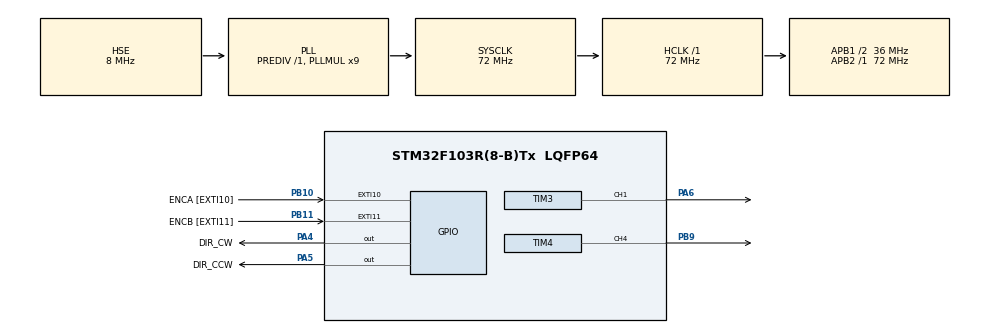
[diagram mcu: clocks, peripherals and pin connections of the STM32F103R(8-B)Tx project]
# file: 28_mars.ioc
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Mcu.Family=STM32F1
Mcu.Name=STM32F103R(8-B)Tx
Mcu.Package=LQFP64
NVIC.PriorityGroup=NVIC_PRIORITYGROUP_4
PA13.Mode=Serial_Wire
PA13.Signal=SYS_JTMS-SWDIO
PA14.Mode=Serial_Wire
PA14.Signal=SYS_JTCK-SWCLK
PA4.GPIO_Label=DIR_CW
PA4.Signal=GPIO_Output
PA5.GPIO_Label=DIR_CCW
PA5.Signal=GPIO_Output
PA6.Signal=S_TIM3_CH1
PB10.GPIO_Label=ENCA [EXTI10]
PB10.GPIO_ModeDefaultEXTI=GPIO_MODE_IT_RISING_FALLING
PB10.Signal=GPXTI10
PB11.GPIO_Label=ENCB [EXTI11]
PB11.GPIO_ModeDefaultEXTI=GPIO_MODE_IT_RISING_FALLING
PB11.Signal=GPXTI11
PB9.Signal=S_TIM4_CH4
PD0-OSC_IN.Mode=HSE-External-Oscillator
PD0-OSC_IN.Signal=RCC_OSC_IN
PD1-OSC_OUT.Mode=HSE-External-Oscillator
PD1-OSC_OUT.Signal=RCC_OSC_OUT
ProjectManager.HeapSize=0x200
ProjectManager.StackSize=0x400
ProjectManager.TargetToolchain=STM32CubeIDE
RCC.ADCPresc=RCC_ADCPCLK2_DIV6
RCC.AHBFreq_Value=72000000
RCC.APB1CLKDivider=RCC_HCLK_DIV2
RCC.APB1Freq_Value=36000000
RCC.APB1TimFreq_Value=72000000
RCC.APB2Freq_Value=72000000
RCC.APB2TimFreq_Value=72000000
RCC.HCLKFreq_Value=72000000
RCC.PLLMUL=RCC_PLL_MUL9
RCC.PLLSourceVirtual=RCC_PLLSOURCE_HSE
RCC.RTCClockSelection=RCC_RTCCLKSOURCE_LSE
RCC.SYSCLKFreq_VALUE=72000000
RCC.SYSCLKSource=RCC_SYSCLKSOURCE_PLLCLK
RCC.USBFreq_Value=72000000
SH.S_TIM3_CH1.0=TIM3_CH1,PWM Generation1 CH1
SH.S_TIM4_CH4.0=TIM4_CH4,PWM Generation4 CH4
TIM3.AutoReloadPreload=TIM_AUTORELOAD_PRELOAD_ENABLE
TIM3.Channel-PWM\ Generation1\ CH1=TIM_CHANNEL_1
TIM3.Period=1799
TIM3.Prescaler=7
TIM3.Pulse-PWM\ Generation1\ CH1=900
TIM4.Channel-PWM\ Generation4\ CH4=TIM_CHANNEL_4
TIM4.Period=1600-1
TIM4.Prescaler=8
TIM4.TIM_MasterOutputTrigger=TIM_TRGO_RESET
VP_TIM3_VS_ClockSourceINT.Mode=Internal
VP_TIM4_VS_ClockSourceINT.Mode=Internal
board=NUCLEO-F103RB

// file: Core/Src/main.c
/* USER CODE BEGIN Header */
/**
  ******************************************************************************
  * @file           : main.c
  * @brief          : Main program body
  ******************************************************************************
  * @attention
  *
  * Copyright (c) 2025 STMicroelectronics.
  * All rights reserved.
  *
  * This software is licensed under terms that can be found in the LICENSE file
  * in the root directory of this software component.
  * If no LICENSE file comes with this software, it is provided AS-IS.
  *
  ******************************************************************************
  */
/* USER CODE END Header */
#include "main.h"
#include "tim.h"
#include "lcd.h"
#include "gpio.h"
#include <string.h>
#include <stdio.h>

/* USER CODE BEGIN PD */
#define ENCODER_PPR			(334)
#define PID_SAMPLING_RATE	(100)
/* USER CODE END PD */

/* USER CODE BEGIN PV */
/*
 * Eight-bit encoder state register
 * ----------------------------------------------
 * |	B7	B6	B5	B4	|	B3	B2	|	B1	B0	|
 * ----------------------------------------------
 * |	RESERVED		| NextState	| CurState	|
 * |					|-----------|-----------|
 * |					|ENCB* ENCA*|ENCB	ENCA|
 * |---------------------------------------------
 */
volatile uint8_t EncState = 0; // Estado del encoder
volatile int32_t EncPulseCounter = 0;
volatile int32_t lEncCount = 0; // Q[n]
volatile int32_t lEncPrevCount = 0; // Q[n-1]

//  SetPoint
#define SPEED 16000
#define MOTOR_VOLTAGE 9 // 9Volts
#define MOTOR_MAX_VOLTAGE 24
#define SET_POINT ((SPEED / MOTOR_MAX_VOLTAGE) / MOTOR_VOLTAGE)

#define PID_MAX_OUTPUT 1000.0F // Max PWM value
#define PID_MIN_OUTPUT 0.0F // Min PWM value

// Define PID gains
volatile float Kp = 0.2F;
volatile float Kd = 0.1F;
volatile float Ki = 0.0F;

// Define PID variables
volatile float e_n_1 = 0.0F;     // Previous error
volatile float integral = 0.0F;  // Integral term
volatile float Ts = 1.0F / PID_SAMPLING_RATE; // Sampling time

// typedef enum {
// 	IDLE,
// 	BUTTON_PRESSED
// } ButtonState_t;

// uint8_t state = IDLE;

// Define PID variables
/* USER CODE END PV */

void SystemClock_Config(void);

/* USER CODE BEGIN 0 */

volatile uint32_t pwm_control = 0; // PWM control signal

#define VALUE_ACTUAL 0
#define VALUE_LAST 1
#define DELTA_TIME 0.01

int32_t get_speed_motor(int32_t q_n, int32_t q_n_1)
{
	return (q_n - q_n_1) / (DELTA_TIME * ENCODER_PPR);
}

uint8_t lcd_buffer[32] = {0};

void write_the_stuff(float angle_value)
{
  uint8_t new_buffer[32] = {0};

  angle_value = 0.23;
  uint8_t len = sprintf((char *)new_buffer, "EncPos: %.2f", angle_value); // ? angle value / position in grade
  new_buffer[len + 1] = 0xDF; // Write degree symbol on LCD

  for (int i = 0; i < 16; i++) {
    if (new_buffer[i] != lcd_buffer[i]) {
      LCD_Goto_XY(i, 0);
      LCD_Write(new_buffer[i] ? new_buffer[i] : ' ', 0);
      lcd_buffer[i] = new_buffer[i];
    }
  }
}

float PID_algorithm(float e_n)
{
	// Apply PID algorithm with x[n] = current angular speed
	// u[n] = Kp*e[n] + Ki*(ErrorSum[n-1] + e[n])*Ts + Kd*(e[n] - e[n-1])/Ts
	// Where e[n] = SetPoint - x[n]
	// Ts: PID Sampling Period
	float derivative = (e_n - e_n_1) / Ts;

	return Kp * e_n + Ki * (integral + e_n) * Ts + Kd * derivative;
}

void EXTI15_10_IRQHandler(void)
{
	if(EXTI->PR & EXTI_PR_PIF10 || EXTI->PR & EXTI_PR_PIF11)
	{
		// Clear EXTI10 & EXTI11 flags by writing 1
		EXTI->PR = EXTI_PR_PIF10 | EXTI_PR_PIF11;

		// Compute next state
		uint8_t nextState = EncState & 0x03;	// Clear next state bit-field
		if (ENCA_GPIO_Port->IDR & ENCA_Pin) nextState |= (1 << 2);
		if (ENCA_GPIO_Port->IDR & ENCB_Pin) nextState |= (1 << 3);

		// Update the pulse counter
		/*                        _______         _______
		 *               A ______|       |_______|       |______ A
		 * negative <---      _______         _______         __      --> positive
		 *               B __|       |_______|       |_______|   B
		 *
		 *
		 * |	HEX	|	B*	A*	|	B	A	|	Operation
		 * |--------|-----------|-----------|-------------
		 * |  0x00	|	0	0	|	0	0	|	IDLE
		 * |  0x01	|	0	0	|	0	1	|	+1
		 * |  0x02	|	0	0	|	1	0	|	-1
		 * |  0x03	|	0	0	|	1	1	|   +2
		 * |  0x04	|	0	1	|	0	0	|	-1
		 * |  0x05	|	0	1	|	0	1	|	IDLE
		 * |  0x06	|	0	1	|	1	0	|	-2
		 * |  0x07	|	0	1	|	1	1	|	+1
		 * |  0x08	|	1	0	|	0	0	|	+1
		 * |  0x09	|	1	0	|	0	1	|	-2
		 * |  0x0A	|	1	0	|	1	0	|	IDLE
		 * |  0x0B	|	1	0	|	1	1	|	-1
		 * |  0x0C	|	1	1	|	0	0	|	+2
		 * |  0x0D	|	1	1	|	0	1	|	-1
		 * |  0x0E	|	1	1	|	1	0	|	+1
		 * |  0x0F	|	1	1	|	1	1	|	IDLE
		 * |--------|-----------|-----------|-------------
		 */
		switch(nextState)
		{
			case 0x01: case 0x07: case 0x08: case 0x0E:
				EncPulseCounter++;
			break;

			case 0x02: case 0x04: case 0x0B: case 0x0D:
				EncPulseCounter--;
			break;

			case 0x03: case 0x0C:
				EncPulseCounter += 2;
			break;

			case 0x06: case 0x09:
				EncPulseCounter -= 2;
			break;
		}

		// Update current state with next state
		EncState = nextState >> 2;
	}
}

/* USER CODE END 0 */

int main(void)
{

  /* USER CODE BEGIN 1 */
	RCC->APB2ENR |= (0x01 << 4); // Enable GPIOC clock
  RCC->APB2ENR |= (0x01 << 3); // Enable GPIOB clock
	GPIOC->CRH &= ~(0xF << 20); // Clear CNF13 & MODE13
  GPIOC->CRH |= (0x01 << 20); // output mode, max speed 10 MHz
  /* USER CODE END 1 */

  /* MCU Configuration--------------------------------------------------------*/

  /* Reset of all peripherals, Initializes the Flash interface and the Systick. */
  HAL_Init();

  /* USER CODE BEGIN Init */
  LCD_Init(LCD_8B_INTERFACE);

  sprintf(lcd_buffer, "EncPos: 0"); // Initialize lcd buffer with initial message
  LCD_Print(lcd_buffer); // Print initial message on LCD
  LCD_Write(0xDF, 0); // Write degree symbol on LCD
  /* USER CODE END Init */

  /* Configure the system clock */
  SystemClock_Config();

  /* Initialize all configured peripherals */
  MX_GPIO_Init();
  MX_TIM4_Init();
  MX_TIM3_Init();
  /* USER CODE BEGIN 2 */
  // Initialize PID variables

  HAL_NVIC_SetPriority(TIM4_IRQn, 1, 0); // ? which priority should be at 1 ? I put both just in case

  // Set current encoder state
  if (ENCA_GPIO_Port->IDR & ENCA_Pin) EncState |= 0x01;
  if (ENCA_GPIO_Port->IDR & ENCB_Pin) EncState |= 0x02;

  // Hardware
  SysTick_Config(SystemCoreClock / 1000); 		// Systick to 1ms
  HAL_TIM_PWM_Start(&htim4, TIM_CHANNEL_4);		// Start TIM4.PWM.CH1

  // Enable EXTI15_10 Interrupts
  HAL_NVIC_SetPriority(EXTI15_10_IRQn, 0, 0);
  HAL_NVIC_EnableIRQ(EXTI15_10_IRQn);

  uint32_t ulLcdPrintTime = HAL_GetTick(); // lcd stuff I guess
  /* USER CODE END 2 */

  /* Infinite loop */
  /* USER CODE BEGIN WHILE */
  uint32_t ulPIDLastTimeWake = HAL_GetTick(); // Get current time in milliseconds
  lEncPrevCount = 0; // q[n - 1]
  while (1)
  {
    // each 100 ms
    //          print "EncPos: {angle value / position in grade}°"
    if (HAL_GetTick() - ulLcdPrintTime >= 2000)
    {
      // Get current time
      ulLcdPrintTime = HAL_GetTick();

      // Print the encoder position in degrees
      float fEncPos = (float)EncPulseCounter * 360.0F / ENCODER_PPR;
      write_the_stuff(fEncPos);
    }

    // each 1ms
    //          algoritmo PID para el control de la posición del motor
	  // Check if PID algorithm must be applied
	  if((HAL_GetTick() - ulPIDLastTimeWake) >= 1)
	  {
		  // Get current time
		  ulPIDLastTimeWake = HAL_GetTick();

		  // Get the current encoder pulse counter
		  __disable_irq();
		  lEncCount = EncPulseCounter; // q[n]
		  __enable_irq();

		  // Compute angular speed (RPMs) x[n] = ([CurrentCount - PrevCount]/Ts) * 60 / PPR
		  float fMotorSpeed = get_speed_motor(lEncCount, lEncPrevCount);

		  // Update previous encoder pulse counter with the current encoder pulse counter
		  lEncPrevCount = lEncCount;

		  // Apply PID algorithm with x[n] = current angular speed
		  // u[n] = Kp*e[n] + Ki*(ErrorSum[n-1] + e[n])*Ts + Kd*(e[n] - e[n-1])/Ts
		  // Where e[n] = SetPoint - x[n]
		  // Ts: PID Sampling Period
		  float e_n = SET_POINT - fMotorSpeed;
		  float fPwmControl = PID_algorithm(e_n);

		  e_n_1 = e_n;
		  integral += e_n;

		  // Saturate the output
		  if(fPwmControl > PID_MAX_OUTPUT) fPwmControl = PID_MAX_OUTPUT;
		  else if(fPwmControl < PID_MIN_OUTPUT) fPwmControl = PID_MIN_OUTPUT;

		  // Change the motor direction if needed based on the sign of the fPwmControl
		  if(fPwmControl < 0.0F)
		  {
        // Set motor backward direction on L298N
        HAL_GPIO_WritePin(GPIOB, GPIO_PIN_12, GPIO_PIN_RESET); // IN1 = 0
        HAL_GPIO_WritePin(GPIOB, GPIO_PIN_13, GPIO_PIN_SET);   // IN2 = 1

			  // Change to positive
			  fPwmControl = -fPwmControl;
		  }
		  else
		  {
			  // Set motor forward direction on L298N
        HAL_GPIO_WritePin(GPIOB, GPIO_PIN_12, GPIO_PIN_SET);     // IN1 = 0
        HAL_GPIO_WritePin(GPIOB, GPIO_PIN_13, GPIO_PIN_RESET);   // IN2 = 1
		  }

		  // Update duty cycle
		  HAL_PWM_SetDuty((uint32_t)fPwmControl);
	  }
    /* USER CODE END WHILE */

  }
}

void SystemClock_Config(void)
{
  RCC_OscInitTypeDef RCC_OscInitStruct = {0};
  RCC_ClkInitTypeDef RCC_ClkInitStruct = {0};

  /** Initializes the RCC Oscillators according to the specified parameters
  * in the RCC_OscInitTypeDef structure.
  */
  RCC_OscInitStruct.OscillatorType = RCC_OSCILLATORTYPE_HSE;
  RCC_OscInitStruct.HSEState = RCC_HSE_ON;
  RCC_OscInitStruct.HSEPredivValue = RCC_HSE_PREDIV_DIV1;
  RCC_OscInitStruct.HSIState = RCC_HSI_ON;
  RCC_OscInitStruct.PLL.PLLState = RCC_PLL_ON;
  RCC_OscInitStruct.PLL.PLLSource = RCC_PLLSOURCE_HSE;
  RCC_OscInitStruct.PLL.PLLMUL = RCC_PLL_MUL9;
  if (HAL_RCC_OscConfig(&RCC_OscInitStruct) != HAL_OK)
  {
    Error_Handler();
  }

  /** Initializes the CPU, AHB and APB buses clocks
  */
  RCC_ClkInitStruct.ClockType = RCC_CLOCKTYPE_HCLK|RCC_CLOCKTYPE_SYSCLK
                              |RCC_CLOCKTYPE_PCLK1|RCC_CLOCKTYPE_PCLK2;
  RCC_ClkInitStruct.SYSCLKSource = RCC_SYSCLKSOURCE_PLLCLK;
  RCC_ClkInitStruct.AHBCLKDivider = RCC_SYSCLK_DIV1;
  RCC_ClkInitStruct.APB1CLKDivider = RCC_HCLK_DIV2;
  RCC_ClkInitStruct.APB2CLKDivider = RCC_HCLK_DIV1;

  if (HAL_RCC_ClockConfig(&RCC_ClkInitStruct, FLASH_LATENCY_2) != HAL_OK)
  {
    Error_Handler();
  }
}

/* USER CODE BEGIN 4 */
void HAL_PWM_SetDuty(uint32_t dc)
{
	if(dc > TIM4->ARR) TIM4->CCR1 = TIM4->ARR;
	else TIM4->CCR1 = dc;
}

/* USER CODE END 4 */

void Error_Handler(void)
{
  __disable_irq();
  while (1)
  {
  }
}
